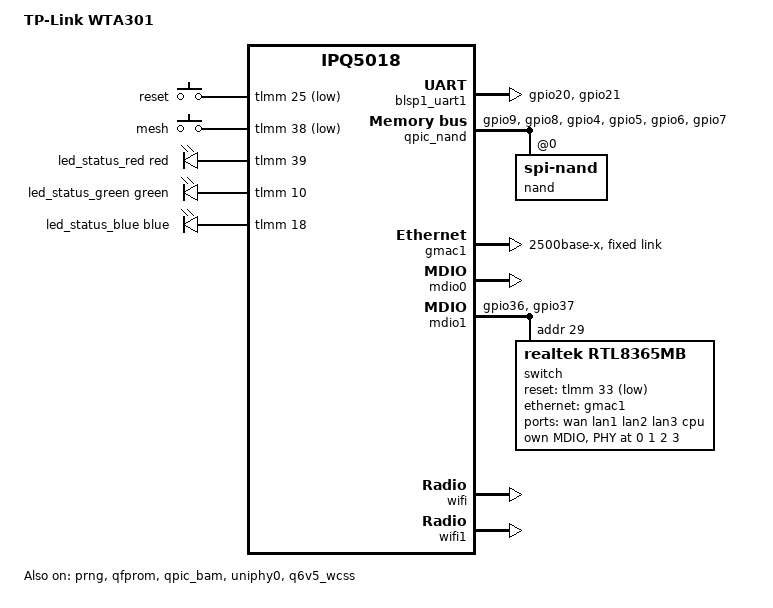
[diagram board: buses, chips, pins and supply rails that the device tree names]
// SPDX-License-Identifier: GPL-2.0-or-later OR MIT

/dts-v1/;

#include "ipq5018.dtsi"
#include "ipq5018-ess.dtsi"
#include "ipq5018-qcn6122.dtsi"

#include <dt-bindings/gpio/gpio.h>
#include <dt-bindings/input/input.h>
#include <dt-bindings/leds/common.h>

/ {
	model = "TP-Link WTA301";
	compatible = "tplink,wta301", "qcom,ipq5018";

	aliases {
		serial0 = &blsp1_uart1;
		led-boot = &led_status_green;
		led-failsafe = &led_status_red;
		led-running = &led_status_green;
		led-upgrade = &led_status_blue;
	};

	chosen {
		stdout-path = "serial0:115200n8";
		bootargs-append = " root=/dev/ubiblock0_1 coherent_pool=2M";
	};

	keys {
		compatible = "gpio-keys";
		pinctrl-0 = <&button_pins>;
		pinctrl-names = "default";

		button-reset {
			label = "reset";
			gpios = <&tlmm 25 GPIO_ACTIVE_LOW>;
			linux,code = <KEY_RESTART>;
		};

		button-mesh {
			label = "mesh";
			gpios = <&tlmm 38 GPIO_ACTIVE_LOW>;
			linux,code = <KEY_WPS_BUTTON>;
		};
	};

	leds {
		compatible = "gpio-leds";
		pinctrl-0 = <&led_pins>;
		pinctrl-names = "default";

		led_status_red: led-0 {
			color = <LED_COLOR_ID_RED>;
			function = LED_FUNCTION_STATUS;
			gpios = <&tlmm 39 GPIO_ACTIVE_HIGH>;
		};

		led_status_green: led-1 {
			color = <LED_COLOR_ID_GREEN>;
			function = LED_FUNCTION_STATUS;
			gpios = <&tlmm 10 GPIO_ACTIVE_HIGH>;
		};

		led_status_blue: led-2 {
			color = <LED_COLOR_ID_BLUE>;
			function = LED_FUNCTION_STATUS;
			gpios = <&tlmm 18 GPIO_ACTIVE_HIGH>;
		};
	};
};

&sleep_clk {
	clock-frequency = <32000>;
};

&xo_board_clk {
	clock-div = <4>;
	clock-mult = <1>;
};

&blsp1_uart1 {
	pinctrl-0 = <&serial_0_pins>;
	pinctrl-names = "default";
	status = "okay";
};

&prng {
	status = "okay";
};

&qfprom {
	status = "okay";
};

&qpic_bam {
	status = "okay";
};

&qpic_nand {
	pinctrl-0 = <&qpic_pins>;
	pinctrl-names = "default";
	status = "okay";

	nand@0 {
		compatible = "spi-nand";
		reg = <0>;
		nand-ecc-engine = <&qpic_nand>;
		nand-ecc-strength = <4>;
		nand-ecc-step-size = <512>;
		nand-bus-width = <8>;
	};
};

&uniphy0 {
	status = "okay";
	assigned-clocks = <&uniphy0 UNIPHY_CLK_REF>;
	assigned-clock-rates = <UNIPHY_REFCLK_50MHZ>;
};

&gmac1 {
	status = "okay";
	phy-mode = "2500base-x";
	fixed-link {
		speed = <2500>;
		full-duplex;
	};
};

&mdio0 {
	status = "okay";
};

&mdio1 {
	status = "okay";
	pinctrl-0 = <&mdio1_pins>;
	pinctrl-names = "default";

	switch@1d {
		compatible = "realtek,rtl8365mb";
		reg = <0x1d>;
		reset-gpios = <&tlmm 33 GPIO_ACTIVE_LOW>;

		mdio {
			compatible = "realtek,smi-mdio";
			#address-cells = <1>;
			#size-cells = <0>;

			switchphy0: ethernet-phy@0 { reg = <0>; };
			switchphy1: ethernet-phy@1 { reg = <1>; };
			switchphy2: ethernet-phy@2 { reg = <2>; };
			switchphy3: ethernet-phy@3 { reg = <3>; };
		};

		ports {
			#address-cells = <1>;
			#size-cells = <0>;

			port@0 {
				reg = <0>;
				label = "wan";
				phy-handle = <&switchphy0>;
			};
			port@1 {
				reg = <1>;
				label = "lan1";
				phy-handle = <&switchphy1>;
			};
			port@2 {
				reg = <2>;
				label = "lan2";
				phy-handle = <&switchphy2>;
			};
			port@3 {
				reg = <3>;
				label = "lan3";
				phy-handle = <&switchphy3>;
			};
			port@6 {
				reg = <6>;
				label = "cpu";
				ethernet = <&gmac1>;
				phy-mode = "2500base-x";
				fixed-link {
					speed = <2500>;
					full-duplex;
				};
			};
		};
	};
};

&q6v5_wcss {
	status = "okay";
};

&wifi {
	status = "okay";
	qcom,rproc = <&q6_wcss_pd1>;
	qcom,ath11k-fw-memory-mode = <1>;
	qcom,calibration-variant = "TP-Link-WTA301";
	qcom,bdf-addr = <0x4c400000>;
};

&wifi1 {
	status = "okay";
	qcom,rproc = <&q6_wcss_pd3>;
	qcom,userpd-subsys-name = "q6v5_wcss_userpd3";
	qcom,ath11k-fw-memory-mode = <1>;
	qcom,calibration-variant = "TP-Link-WTA301";
	qcom,bdf-addr = <0x4d100000>;
	qcom,m3-dump-addr = <0x4df00000>;
};

&tlmm {
	button_pins: button-state {
		pins = "gpio25", "gpio38";
		function = "gpio";
		drive-strength = <8>;
		bias-pull-up;
	};
	led_pins: led-state {
		pins = "gpio10", "gpio18", "gpio39";
		function = "gpio";
		drive-strength = <8>;
		bias-disable;
	};
	mdio1_pins: mdio-state {
		mdc-pins {
			pins = "gpio36";
			function = "mdc";
			drive-strength = <8>;
			bias-pull-up;
		};
		mdio-pins {
			pins = "gpio37";
			function = "mdio";
			drive-strength = <8>;
			bias-pull-up;
		};
	};
	qpic_pins: qpic-state {
		clock-pins {
			pins = "gpio9";
			function = "qspi_clk";
			drive-strength = <8>;
			bias-disable;
		};
		cs-pins {
			pins = "gpio8";
			function = "qspi_cs";
			drive-strength = <8>;
			bias-disable;
		};
		data-pins {
			pins = "gpio4", "gpio5", "gpio6", "gpio7";
			function = "qspi_data";
			drive-strength = <8>;
			bias-disable;
		};
	};
	serial_0_pins: uart0-state {
		pins = "gpio20", "gpio21";
		function = "blsp0_uart0";
		bias-disable;
	};
};
